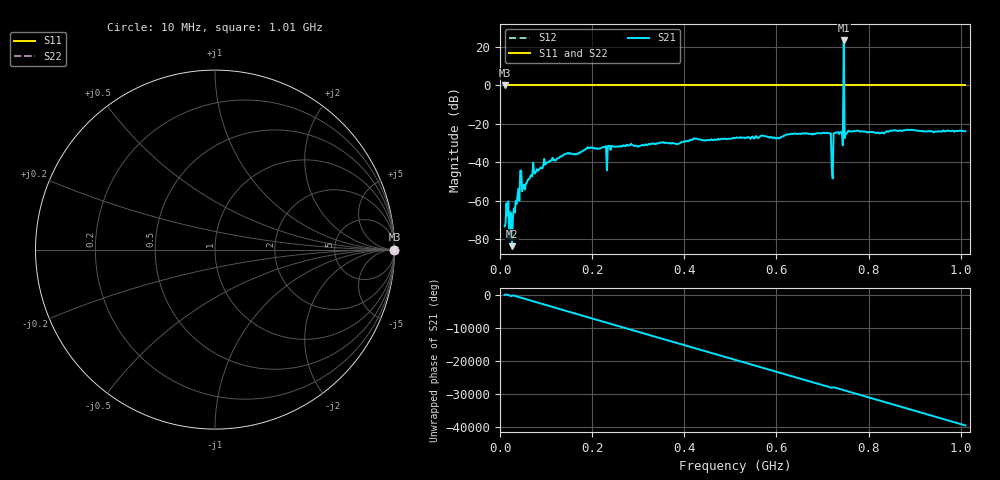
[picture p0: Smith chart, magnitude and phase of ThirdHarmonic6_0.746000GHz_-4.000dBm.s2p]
! 8/16/2025 12:57:01 AM
! C:\ANRITSUVNA\TEMP\TEMP.S2P
! CHANNEL.1
! TR.MEASUREMENT
! RAW.DATA
! RF.CORRECTION.OFF
! AVERAGING.OFF
! IF.BANDWIDTH: 5KHZ
! SWEEPTYPE:  FREQ.SWEEP(Linear)
! Reference Plane Port Info
! PORT:  PORT1  PORT2
! DISTANCE:  0  m  0  m
! TIME:  0  s  0  s
! PHASE.OFFSET:  0  deg.  0  deg.
! LOSS:  0  dB  0  dB
! REF.LOSS:  0  dB  0  dB
! REF.FREQ:  0  Hz  0  Hz
! Power Info
! POWER:  -20  dBm  -20  dBm
! EFF.POWER:  -20  dBm  -20  dBm
! SOURCE.ATTEN:  0  dB  0  dB
! TEST.ATTEN:  0  dB  0  dB
# GHZ S RI R 50.0
! FREQ.GHZ  S11RE  S11IM  S21RE  S21IM  S12RE  S12IM  S22RE  S22IM
!; PortSelection: Port_12
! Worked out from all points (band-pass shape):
!   501 points, 10 MHz to 1.01 GHz, reference 50 ohm
!   highest |S21| = 23.42 dB at 746 MHz (marker M1); lowest = -83.6 dB at 26 MHz (marker M2)
!   |S21| within 3 dB of the highest: 745.8902 MHz to 746.1182 MHz (228 kHz wide, 0.0306 % of centre)
!   lowest |S11| = 0.0 dB at 10 MHz (marker M3)
!   |S11| at or under -10 dB: nowhere
!   |S22| runs from 0.0 to 0.0 dB; largest |S21 - S12| = 14
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0.01  1 0  2.47e-05 -0.000214  1 0  1 0
0.014  1 0  0.000768 0.000383  1 0  1 0
0.024  1 0  0.000218 -0.00042  1 0  1 0
0.026  1 0  6.45e-05 -1.26e-05  1 0  1 0
0.048  1 0  0.000476 0.0017  1 0  1 0
0.052  1 0  -4.64e-05 -0.00262  1 0  1 0
0.1  1 0  -0.00346 0.00863  1 0  1 0
0.178  1 0  -0.0187 -0.0045  1 0  1 0
0.344  1 0  0.0303 -0.0073  1 0  1 0
0.51  1 0  -0.0399 0.0151  1 0  1 0
0.678  1 0  -0.0226 -0.0475  1 0  1 0
0.714  1 0  -0.036 -0.0453  1 0  1 0
0.72  1 0  0.00645 0.00314  1 0  1 0
0.724  1 0  -0.0555 -0.0122  1 0  1 0
0.728  1 0  0.0489 0.0312  1 0  1 0
0.74  1 0  -0.00314 -0.0607  1 0  1 0
0.742  1 0  -0.0627 -0.00879  1 0  1 0
0.746  1 0  14.61 2.541  1 0  1 0
0.75  1 0  -0.0418 -0.0367  1 0  1 0
0.752  1 0  -0.046 0.0318  1 0  1 0
0.844  1 0  0.0444 0.0449  1 0  1 0
1.01  1 0  -0.0622 -0.0162  1 0  1 0
